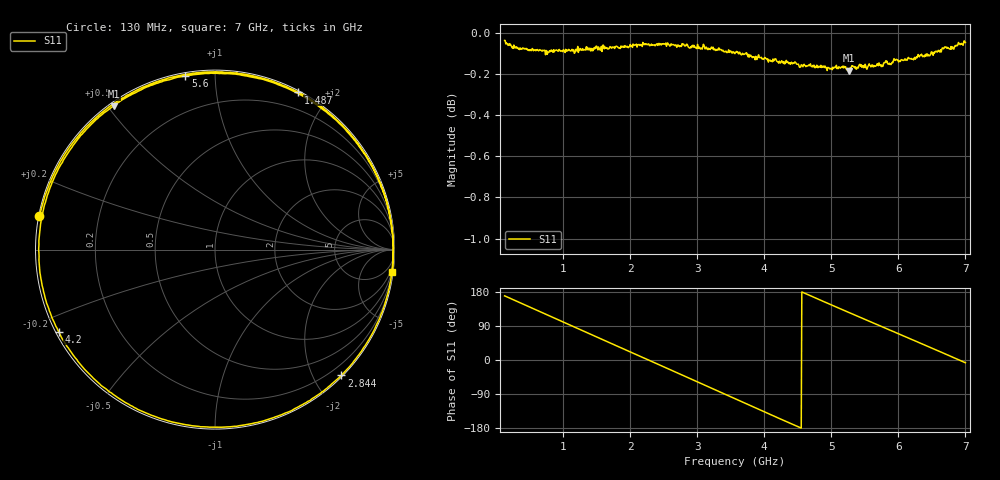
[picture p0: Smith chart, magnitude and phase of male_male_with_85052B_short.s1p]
!Created with skrf (http://scikit-rf.org).
# Hz S RI R 50.0
!freq ReS11 ImS11
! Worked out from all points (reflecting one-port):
!   801 points, 130 MHz to 7 GHz, reference 50 ohm
!   lowest |S11| = -0.2 dB at 5.265 GHz (marker M1), VSWR 94.31, Z = 0.672 + j25.9 ohm
!   phase of S11 starts at 169 deg and turns -537 deg over the sweep
!   S11 on the Smith chart (normalised r, x): 130 MHz: 0.00, +0.09; 1.487 GHz: 0.02, +1.66; 2.844 GHz: 0.02, -2.42; 4.2 GHz: 0.01, -0.25; 5.6 GHz: 0.02, +0.84; 7 GHz: 1, -16
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1.3e8  -0.9785 0.1846
5.164375e8  -0.7437 0.6544
7.483e8  -0.4992 0.8548
9.8875e8  -0.1927 0.9709
1.2292e9  0.1325 0.9802
1.486825e9  0.4649 0.8755
1.8475e9  0.8261 0.5483
2.062188e9  0.951 0.2859
2.276875e9  0.9939 -0.00243
2.491562e9  0.9497 -0.2925
2.70625e9  0.822 -0.5568
2.84365e9  0.7038 -0.7014
3.212912e9  0.2707 -0.9544
3.565e9  -0.2072 -0.9665
3.882738e9  -0.596 -0.786
4.200475e9  -0.8714 -0.4569
4.42375e9  -0.9671 -0.1755
4.621262e9  -0.9774 0.0869
4.818775e9  -0.9196 0.3429
5.04205e9  -0.7765 0.5989
5.265325e9  -0.5654 0.7993
5.2825e9  -0.5471 0.8139
5.600238e9  -0.1654 0.9678
5.849275e9  0.1577 0.9699
6.14125e9  0.5122 0.8424
6.579212e9  0.8947 0.4222
6.776725e9  0.9756 0.173
7e9  0.9867 -0.1255
